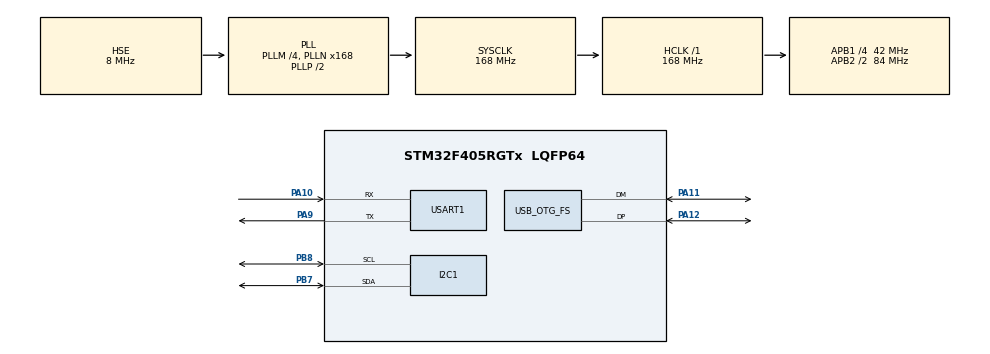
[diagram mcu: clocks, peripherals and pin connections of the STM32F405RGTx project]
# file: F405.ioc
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Dma.I2C1_RX.0.Direction=DMA_PERIPH_TO_MEMORY
Dma.I2C1_RX.0.FIFOMode=DMA_FIFOMODE_DISABLE
Dma.I2C1_RX.0.Instance=DMA1_Stream0
Dma.I2C1_RX.0.MemDataAlignment=DMA_MDATAALIGN_BYTE
Dma.I2C1_RX.0.MemInc=DMA_MINC_ENABLE
Dma.I2C1_RX.0.Mode=DMA_NORMAL
Dma.I2C1_RX.0.PeriphDataAlignment=DMA_PDATAALIGN_BYTE
Dma.I2C1_RX.0.PeriphInc=DMA_PINC_DISABLE
Dma.I2C1_RX.0.Priority=DMA_PRIORITY_MEDIUM
Dma.Request0=I2C1_RX
FREERTOS.Mutexes01=mutexMpu6050,Dynamic,NULL,Available;mutexIcm20948,Dynamic,NULL,Available
FREERTOS.Tasks01=buttonTask,32,128,StartButtonTask,Default,NULL,Dynamic,NULL,NULL;lcdTask,32,256,StartLcdTask,Default,NULL,Dynamic,NULL,NULL;mpu6050Task,24,128,StartTaskMpu6050,Default,NULL,Dynamic,NULL,NULL;icm20948Task,24,128,StartTaskIcm20948,Default,NULL,Dynamic,NULL,NULL;taskKalmanFilte,24,128,StartTaskKalmanFilter,Default,NULL,Dynamic,NULL,NULL;bmp280Task,24,128,StartTaskBmp280,Default,NULL,Dynamic,NULL,NULL
FREERTOS.configENABLE_FPU=1
FREERTOS.configUSE_NEWLIB_REENTRANT=1
I2C1.I2C_Mode=I2C_Fast
Mcu.Family=STM32F4
Mcu.Name=STM32F405RGTx
Mcu.Package=LQFP64
NVIC.DMA1_Stream0_IRQn=true\:5\:0\:false\:false\:true\:true\:false\:true\:true
NVIC.I2C1_ER_IRQn=true\:5\:0\:false\:false\:true\:true\:true\:true\:true
NVIC.I2C1_EV_IRQn=true\:5\:0\:false\:false\:true\:true\:true\:true\:true
NVIC.OTG_FS_IRQn=true\:5\:0\:false\:false\:true\:true\:false\:true\:true
NVIC.PriorityGroup=NVIC_PRIORITYGROUP_4
NVIC.TIM1_UP_TIM10_IRQn=true\:15\:0\:false\:false\:true\:false\:false\:true\:true
NVIC.TimeBase=TIM1_UP_TIM10_IRQn
NVIC.TimeBaseIP=TIM1
PA10.Mode=Asynchronous
PA10.Signal=USART1_RX
PA11.Mode=Device_Only
PA11.Signal=USB_OTG_FS_DM
PA12.Mode=Device_Only
PA12.Signal=USB_OTG_FS_DP
PA13.Mode=Serial_Wire
PA13.Signal=SYS_JTMS-SWDIO
PA14.Mode=Serial_Wire
PA14.Signal=SYS_JTCK-SWCLK
PA9.Mode=Asynchronous
PA9.Signal=USART1_TX
PB7.GPIO_Pu=GPIO_PULLUP
PB7.Mode=I2C
PB7.Signal=I2C1_SDA
PB8.GPIO_Pu=GPIO_PULLUP
PB8.Mode=I2C
PB8.Signal=I2C1_SCL
PC14-OSC32_IN.Mode=LSE-External-Oscillator
PC14-OSC32_IN.Signal=RCC_OSC32_IN
PC15-OSC32_OUT.Mode=LSE-External-Oscillator
PC15-OSC32_OUT.Signal=RCC_OSC32_OUT
PH0-OSC_IN.Mode=HSE-External-Oscillator
PH0-OSC_IN.Signal=RCC_OSC_IN
PH1-OSC_OUT.Mode=HSE-External-Oscillator
PH1-OSC_OUT.Signal=RCC_OSC_OUT
ProjectManager.HeapSize=0x200
ProjectManager.StackSize=0x400
ProjectManager.TargetToolchain=STM32CubeIDE
RCC.48MHZClocksFreq_Value=48000000
RCC.AHBFreq_Value=168000000
RCC.APB1CLKDivider=RCC_HCLK_DIV4
RCC.APB1Freq_Value=42000000
RCC.APB1TimFreq_Value=84000000
RCC.APB2CLKDivider=RCC_HCLK_DIV2
RCC.APB2Freq_Value=84000000
RCC.APB2TimFreq_Value=168000000
RCC.CortexFreq_Value=168000000
RCC.HCLKFreq_Value=168000000
RCC.HSE_VALUE=8000000
RCC.HSI_VALUE=16000000
RCC.PLLM=4
RCC.PLLN=168
RCC.PLLQ=7
RCC.RCC_RTC_Clock_Source=RCC_RTCCLKSOURCE_LSE
RCC.RCC_RTC_Clock_SourceVirtual=RCC_RTCCLKSOURCE_LSE
RCC.SYSCLKFreq_VALUE=168000000
RCC.SYSCLKSource=RCC_SYSCLKSOURCE_PLLCLK
RCC.VCOOutputFreq_Value=336000000
RTC.Date=7
RTC.Month=RTC_MONTH_AUGUST
RTC.Year=23
USART1.VirtualMode=VM_ASYNC
USB_DEVICE.CLASS_NAME_FS=CDC
USB_DEVICE.VirtualMode-CDC_FS=Cdc
USB_DEVICE.VirtualModeFS=Cdc_FS
USB_OTG_FS.VirtualMode=Device_Only
VP_FREERTOS_VS_CMSIS_V2.Mode=CMSIS_V2
VP_RTC_VS_RTC_Activate.Mode=RTC_Enabled
VP_RTC_VS_RTC_Calendar.Mode=RTC_Calendar
VP_SYS_VS_tim1.Mode=TIM1
VP_USB_DEVICE_VS_USB_DEVICE_CDC_FS.Mode=CDC_FS
board=custom

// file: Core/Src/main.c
/* USER CODE BEGIN Header */
/**
  ******************************************************************************
  * @file           : main.c
  * @brief          : Main program body
  ******************************************************************************
  * @attention
  *
  * Copyright (c) 2024 STMicroelectronics.
  * All rights reserved.
  *
  * This software is licensed under terms that can be found in the LICENSE file
  * in the root directory of this software component.
  * If no LICENSE file comes with this software, it is provided AS-IS.
  *
  ******************************************************************************
  */
/* USER CODE END Header */
#include "main.h"
#include "cmsis_os.h"
#include "dma.h"
#include "i2c.h"
#include "rtc.h"
#include "usart.h"
#include "usb_device.h"
#include "gpio.h"

/* USER CODE BEGIN Includes */
#include "board.h"
#include <stdio.h>
//#include "MPU6050/mpu6050.h"
#include "IMU10DOF/Waveshare_10Dof-D.h"
#include "OLED/ssd1306.h"
/* USER CODE END Includes */

/* USER CODE BEGIN PV */
MPU6050_t MPU6050;
ICM20948_t ICM20948;
BMP280_t BMP280;
volatile I2C_DMA_State current_i2c_dma_state = I2C_DMA_STATE_NONE;
SemaphoreHandle_t dmaCompleteSemaphore;
/* USER CODE END PV */

void SystemClock_Config(void);
void MX_FREERTOS_Init(void);
/* USER CODE BEGIN PFP */
void I2C_Scan(void);
/* USER CODE END PFP */

/* USER CODE BEGIN 0 */
/* Redirect printf to UART */
#ifdef __GNUC__
  // For GCC, implement __io_putchar for printf redirection
  int __io_putchar(int ch)
#else
  // For other compilers, implement fputc for printf redirection
  int fputc(int ch, FILE *f)
#endif /* __GNUC__ */
{
    // Transmit the character over UART1
    HAL_UART_Transmit(&huart1, (uint8_t *)&ch, 1, HAL_MAX_DELAY);
    return ch;
}
/* USER CODE END 0 */

int main(void)
{

  /* MCU Configuration--------------------------------------------------------*/

  /* Reset of all peripherals, Initializes the Flash interface and the Systick. */
  HAL_Init();

  /* Configure the system clock */
  SystemClock_Config();

  /* Initialize all configured peripherals */
  MX_GPIO_Init();
  MX_DMA_Init();
  MX_RTC_Init();
  MX_USART1_UART_Init();
  MX_I2C1_Init();
  /* USER CODE BEGIN 2 */

  I2C_Scan();
  while (MPU6050_Init(&hi2c1, &MPU6050) == 1);

  if(ICM20948_Init(&ICM20948) != HAL_OK)
  {
	  printf("init icm20948 fails\r\n");
  }

  if(BMP280_Init(&BMP280) != HAL_OK)
  {
	  printf("init bmp280 fails\r\n");
  }

  ssd1306_Init();
  ssd1306_WriteString("Hello World", Font_7x10);
  ssd1306_UpdateScreen();

  board_button_init();
  board_led_init();

  /* USER CODE END 2 */

  /* Init scheduler */
  osKernelInitialize();

  /* Call init function for freertos objects (in cmsis_os2.c) */
  MX_FREERTOS_Init();

  /* Start scheduler */
  osKernelStart();

  /* We should never get here as control is now taken by the scheduler */

  /* Infinite loop */
  while (1)
  {

  }
}

void SystemClock_Config(void)
{
  RCC_OscInitTypeDef RCC_OscInitStruct = {0};
  RCC_ClkInitTypeDef RCC_ClkInitStruct = {0};

  /** Configure the main internal regulator output voltage
  */
  __HAL_RCC_PWR_CLK_ENABLE();
  __HAL_PWR_VOLTAGESCALING_CONFIG(PWR_REGULATOR_VOLTAGE_SCALE1);

  /** Initializes the RCC Oscillators according to the specified parameters
  * in the RCC_OscInitTypeDef structure.
  */
  RCC_OscInitStruct.OscillatorType = RCC_OSCILLATORTYPE_HSE|RCC_OSCILLATORTYPE_LSE;
  RCC_OscInitStruct.HSEState = RCC_HSE_ON;
  RCC_OscInitStruct.LSEState = RCC_LSE_ON;
  RCC_OscInitStruct.PLL.PLLState = RCC_PLL_ON;
  RCC_OscInitStruct.PLL.PLLSource = RCC_PLLSOURCE_HSE;
  RCC_OscInitStruct.PLL.PLLM = 4;
  RCC_OscInitStruct.PLL.PLLN = 168;
  RCC_OscInitStruct.PLL.PLLP = RCC_PLLP_DIV2;
  RCC_OscInitStruct.PLL.PLLQ = 7;
  if (HAL_RCC_OscConfig(&RCC_OscInitStruct) != HAL_OK)
  {
    Error_Handler();
  }

  /** Initializes the CPU, AHB and APB buses clocks
  */
  RCC_ClkInitStruct.ClockType = RCC_CLOCKTYPE_HCLK|RCC_CLOCKTYPE_SYSCLK
                              |RCC_CLOCKTYPE_PCLK1|RCC_CLOCKTYPE_PCLK2;
  RCC_ClkInitStruct.SYSCLKSource = RCC_SYSCLKSOURCE_PLLCLK;
  RCC_ClkInitStruct.AHBCLKDivider = RCC_SYSCLK_DIV1;
  RCC_ClkInitStruct.APB1CLKDivider = RCC_HCLK_DIV4;
  RCC_ClkInitStruct.APB2CLKDivider = RCC_HCLK_DIV2;

  if (HAL_RCC_ClockConfig(&RCC_ClkInitStruct, FLASH_LATENCY_5) != HAL_OK)
  {
    Error_Handler();
  }
}

/* USER CODE BEGIN 4 */
void I2C_Scan(void)
{

	RTC_DateTypeDef sdatestructureget;
	RTC_TimeTypeDef stimestructureget;
	HAL_RTC_GetTime(&hrtc, &stimestructureget, RTC_FORMAT_BIN);
	HAL_RTC_GetDate(&hrtc, &sdatestructureget, RTC_FORMAT_BIN);
    printf("Scanning I2C bus on Y20%02d.M%02d.D%02d at %02d:%02d:%02d...\r\n",
    		sdatestructureget.Year,
			sdatestructureget.Month,
			sdatestructureget.Date,
			stimestructureget.Hours,
			stimestructureget.Minutes,
			stimestructureget.Seconds);
    for (uint16_t addr = 0; addr < 128; addr++)
    {
        if (HAL_I2C_IsDeviceReady(&hi2c1, addr << 1, 1, HAL_MAX_DELAY) == HAL_OK)
        {
            printf("Device found at 0x%02X\r\n", addr);
        }
    }
    printf("Scanning I2C DONE!...\r\n");
}

void Display_Accel_Data(void) {
    // Clear the screen
    ssd1306_Clear();
    char buffer[20];  // Buffer to hold the text
    uint8_t len = 75;

	// Display the Ax value
	snprintf(buffer, sizeof(buffer), "x:%8.5f|%8.5f", MPU6050.acce[0], -(ICM20948.acce[1]));
	ssd1306_SetCursor(0, 0);
	ssd1306_WriteString(buffer, Font_7x10);

	// Display the Ay value
	snprintf(buffer, sizeof(buffer), "y:%8.5f|%8.5f", MPU6050.acce[1], ICM20948.acce[0]);
	ssd1306_SetCursor(0, 10);
	ssd1306_WriteString(buffer, Font_7x10);

	// Display the Az value
	snprintf(buffer, sizeof(buffer), "z:%8.5f|%8.5f", MPU6050.acce[2], ICM20948.acce[2]);
	ssd1306_SetCursor(0, 20);
	ssd1306_WriteString(buffer, Font_7x10);

	// Update the screen
	ssd1306_UpdateScreen();

}

void Display_Gyro_Data(void) {
    // Clear the screen
    ssd1306_Clear();
    char buffer[20];  // Buffer to hold the text
    uint8_t len = 75;

	// Display the Ax value
	snprintf(buffer, sizeof(buffer), "x:%8.5f|%8.5f", MPU6050.gyro[0], -ICM20948.gyro[1]);
	ssd1306_SetCursor(0, 0);
	ssd1306_WriteString(buffer, Font_7x10);

	// Display the Ay value
	snprintf(buffer, sizeof(buffer), "y:%8.5f|%8.5f", MPU6050.gyro[1], ICM20948.gyro[0]);
	ssd1306_SetCursor(0, 10);
	ssd1306_WriteString(buffer, Font_7x10);

	// Display the Az value
	snprintf(buffer, sizeof(buffer), "z:%8.5f|%8.5f", MPU6050.gyro[2], ICM20948.gyro[2]);
	ssd1306_SetCursor(0, 20);
	ssd1306_WriteString(buffer, Font_7x10);

	// Update the screen
	ssd1306_UpdateScreen();

}
void HAL_I2C_MemRxCpltCallback(I2C_HandleTypeDef *hi2c) {
    if (hi2c->Instance == I2C1) {
    	BaseType_t xHigherPriorityTaskWoken = pdFALSE;
    	xSemaphoreGiveFromISR(dmaCompleteSemaphore, &xHigherPriorityTaskWoken);
    	portYIELD_FROM_ISR(xHigherPriorityTaskWoken);

    }
}
void HAL_I2C_ErrorCallback(I2C_HandleTypeDef *hi2c) {
    if (hi2c->Instance == I2C1) {
    	switch (current_i2c_dma_state)
		{
			case I2C_DMA_STATE_MPU6050:
				printf("mpu6050 i2c error");
				break;
			case I2C_DMA_STATE_ICM20948_ACCEL_GYRO:
				printf("icm20948 gyro i2c error");
				break;
			case I2C_DMA_STATE_ICM20948_MAG:
				printf("icm20948 mag i2c error");
				break;
			case I2C_DMA_STATE_BMP280:
				printf("icm20948 bmp280 i2c error");
				break;
			case I2C_DMA_STATE_NONE:
			default:
				printf("Unexpected I2C DMA state!\r\n");
				break;
		}
    }
}
/* USER CODE END 4 */

void HAL_TIM_PeriodElapsedCallback(TIM_HandleTypeDef *htim)
{
  if (htim->Instance == TIM1) {
    HAL_IncTick();
  }
}

void Error_Handler(void)
{
  __disable_irq();
  while (1)
  {
  }
}

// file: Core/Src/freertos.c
/* USER CODE BEGIN Header */
/**
  ******************************************************************************
  * File Name          : freertos.c
  * Description        : Code for freertos applications
  ******************************************************************************
  * @attention
  *
  * Copyright (c) 2024 STMicroelectronics.
  * All rights reserved.
  *
  * This software is licensed under terms that can be found in the LICENSE file
  * in the root directory of this software component.
  * If no LICENSE file comes with this software, it is provided AS-IS.
  *
  ******************************************************************************
  */
/* USER CODE END Header */

#include "FreeRTOS.h"
#include "task.h"
#include "main.h"
#include "cmsis_os.h"

/* USER CODE BEGIN Includes */
#include "i2c.h"
#include "usbd_cdc_if.h"
#include "algo/angle_estimation.h"

/* USER CODE END Includes */

/* USER CODE BEGIN Variables */
static cnt = 0;
/* USER CODE END Variables */
/* Definitions for buttonTask */
osThreadId_t buttonTaskHandle;
const osThreadAttr_t buttonTask_attributes = {
  .name = "buttonTask",
  .stack_size = 128 * 4,
  .priority = (osPriority_t) osPriorityAboveNormal,
};
/* Definitions for lcdTask */
osThreadId_t lcdTaskHandle;
const osThreadAttr_t lcdTask_attributes = {
  .name = "lcdTask",
  .stack_size = 512 * 4,
  .priority = (osPriority_t) osPriorityAboveNormal,
};
/* Definitions for mpu6050Task */
osThreadId_t mpu6050TaskHandle;
const osThreadAttr_t mpu6050Task_attributes = {
  .name = "mpu6050Task",
  .stack_size = 128 * 4,
  .priority = (osPriority_t) osPriorityNormal,
};
/* Definitions for icm20948Task */
osThreadId_t icm20948TaskHandle;
const osThreadAttr_t icm20948Task_attributes = {
  .name = "icm20948Task",
  .stack_size = 128 * 4,
  .priority = (osPriority_t) osPriorityNormal,
};
/* Definitions for taskKalmanFilte */
osThreadId_t taskKalmanFilteHandle;
const osThreadAttr_t taskKalmanFilte_attributes = {
  .name = "taskKalmanFilte",
  .stack_size = 128 * 4,
  .priority = (osPriority_t) osPriorityNormal,
};
/* Definitions for bmp280Task */
osThreadId_t bmp280TaskHandle;
const osThreadAttr_t bmp280Task_attributes = {
  .name = "bmp280Task",
  .stack_size = 256 * 4,
  .priority = (osPriority_t) osPriorityNormal,
};
/* Definitions for mutexMpu6050 */
osMutexId_t mutexMpu6050Handle;
const osMutexAttr_t mutexMpu6050_attributes = {
  .name = "mutexMpu6050"
};
/* Definitions for mutexIcm20948 */
osMutexId_t mutexIcm20948Handle;
const osMutexAttr_t mutexIcm20948_attributes = {
  .name = "mutexIcm20948"
};

void StartButtonTask(void *argument);
void StartLcdTask(void *argument);
void StartTaskMpu6050(void *argument);
void StartTaskIcm20948(void *argument);
void StartTaskKalmanFilter(void *argument);
void StartTaskBmp280(void *argument);

void MX_FREERTOS_Init(void); /* (MISRA C 2004 rule 8.1) */

void MX_FREERTOS_Init(void) {
  /* USER CODE BEGIN Init */
	MX_USB_DEVICE_Init();

  /* USER CODE END Init */
  /* Create the mutex(es) */
  /* creation of mutexMpu6050 */
  mutexMpu6050Handle = osMutexNew(&mutexMpu6050_attributes);

  /* creation of mutexIcm20948 */
  mutexIcm20948Handle = osMutexNew(&mutexIcm20948_attributes);

  /* USER CODE BEGIN RTOS_SEMAPHORES */
  /* add semaphores, ... */
  dmaCompleteSemaphore = xSemaphoreCreateBinary();
  if (dmaCompleteSemaphore == NULL) {
	  // Handle semaphore creation failure
	  printf("Failed to create dmaCompleteSemaphore.\r\n");
	  while (1);
  }
  /* USER CODE END RTOS_SEMAPHORES */

  /* Create the thread(s) */
  /* creation of buttonTask */
  buttonTaskHandle = osThreadNew(StartButtonTask, NULL, &buttonTask_attributes);

  /* creation of lcdTask */
  lcdTaskHandle = osThreadNew(StartLcdTask, NULL, &lcdTask_attributes);

  /* creation of mpu6050Task */
  mpu6050TaskHandle = osThreadNew(StartTaskMpu6050, NULL, &mpu6050Task_attributes);

  /* creation of icm20948Task */
  icm20948TaskHandle = osThreadNew(StartTaskIcm20948, NULL, &icm20948Task_attributes);

  /* creation of taskKalmanFilte */
  taskKalmanFilteHandle = osThreadNew(StartTaskKalmanFilter, NULL, &taskKalmanFilte_attributes);

  /* creation of bmp280Task */
  bmp280TaskHandle = osThreadNew(StartTaskBmp280, NULL, &bmp280Task_attributes);

  /* USER CODE BEGIN RTOS_EVENTS */
  printf("Waiting for USB...\r\n");
  osDelay(5000);
  /* USER CODE END RTOS_EVENTS */

}

void StartButtonTask(void *argument)
{
  /* USER CODE BEGIN StartButtonTask */
	TickType_t xLastWakeTime = xTaskGetTickCount();
	const TickType_t xInterval = 10;
  /* Infinite loop */
	uint32_t now;
	for(;;)
	{
		TickType_t start = xTaskGetTickCount();
	  if(board_button_pressed())
	  {
		  board_led_set(GPIO_PIN_SET);
	  }
	  else
	  {
		  if(now >= 100)
		  {
			  now = 0;
			  board_led_toggle();
		  }
		  else
		  {
			  now++;
		  }
	  }
	  /*
	  TickType_t end = xTaskGetTickCount();
	  TickType_t dt = (end - start) * portTICK_PERIOD_MS;
	  if(dt > xInterval)
		  printf("Button Time: %d > %d ms\r\n", dt, xInterval);
	  */
	  vTaskDelayUntil(&xLastWakeTime, pdMS_TO_TICKS(xInterval));
	}
  /* USER CODE END StartButtonTask */
}

void StartLcdTask(void *argument)
{
  /* USER CODE BEGIN StartLcdTask */
	static uint8_t display = 1;
	static uint8_t is_pressed = 0;
	TickType_t xLastWakeTime = xTaskGetTickCount();
	const TickType_t xInterval = 50;
  /* Infinite loop */
	for(;;)
	{
		TickType_t start = xTaskGetTickCount();
	  if(board_button_pressed() && !is_pressed)
	  {
		  is_pressed = 1;
	  }
	  else if(!board_button_pressed() && is_pressed)
	  {
		  display = display? 0:1;
		  is_pressed = 0;
		  printf("change display\r\n");
	  }
	  switch (display)
	  {
	  	  case 1:
	  		  Display_Gyro_Data();
	  		  break;
	  	  default:
	  		  Display_Accel_Data();
	  		  break;
	  }
	  char tx_buff[128];
	  sprintf(tx_buff, "%d, %.5f, %.5f, %.5f, %.5f, %.5f, %.5f, %.5f\r\n",
			  ++cnt, MPU6050.kalmanRoll[0], MPU6050.kalmanRoll[2], MPU6050.angle[0],
			  MPU6050.kalmanPitch[0], MPU6050.kalmanPitch[2], -MPU6050.angle[1],
			  (BMP280.altitude - BMP280.altitude_offset)*100);
	  CDC_Transmit_FS(tx_buff, strlen(tx_buff));
	  //printf("%.3f\r\n", cnt*0.05);
	  /*
	  printf("%d, %.5f, %.5f, %.5f, ", ++cnt, MPU6050.acce[0], MPU6050.acce[1], MPU6050.acce[2]);
	  printf("%.5f, %.5f, %.5f, ", MPU6050.gyro[0], MPU6050.gyro[1], MPU6050.gyro[2]);
	  printf("%.5f, %.5f, %.5f ", ICM20948.acce[0], ICM20948.acce[1], ICM20948.acce[2]);
	  printf("%.5f, %.5f, %.5f\r\n", ICM20948.gyro[0], ICM20948.gyro[1], ICM20948.gyro[2]);
	  */
	  //printf(" Mx: %.5f My: %.5f Mz: %.5f\r\n", ICM20948.mage[0], ICM20948.mage[1], ICM20948.mage[2]);
	  //printf("Temp: %.5f | %.5f\r\n", MPU6050.Temperature, BMP280.temp);
	  // printf("%d, %.5f, %.5f, %.5f, ", ++cnt, MPU6050.angle[0], MPU6050.angle[1], MPU6050.angle[2]);
	  // printf("%.5f, %.5f, %.5f\r\n", ICM20948.angle[1], -ICM20948.angle[0], ICM20948.angle[2]);
	  //printf("%d, %.5f, %.5f, %.5f, ", ++cnt, MPU6050.kalmanRoll[0], MPU6050.kalmanRoll[2], MPU6050.angle[0]);

	  //printf("%.5f, %.5f, %.5f\r\n", MPU6050.kalmanPitch[0], MPU6050.kalmanPitch[2], MPU6050.angle[1]);
	  TickType_t endTime = xTaskGetTickCount();  // Measure end time
	  //printf("Task Execution Time: %d ms\r\n", (endTime - startTime) * portTICK_PERIOD_MS);

	  TickType_t end = xTaskGetTickCount();
	  TickType_t dt = (end - start) * portTICK_PERIOD_MS;
	  if(dt > xInterval)
		  printf("LCD Time: %d > %d ms\r\n", dt, xInterval);
	  vTaskDelayUntil(&xLastWakeTime, pdMS_TO_TICKS(xInterval));
	}
  /* USER CODE END StartLcdTask */
}

void StartTaskMpu6050(void *argument)
{
  /* USER CODE BEGIN StartTaskMpu6050 */
	TickType_t xLastWakeTime = xTaskGetTickCount();
	const TickType_t xInterval = 20;
  /* Infinite loop */
	  for(;;)
	  {
			TickType_t start = xTaskGetTickCount();
		  current_i2c_dma_state = I2C_DMA_STATE_MPU6050;
		  MPU6050_Read_DMA(&hi2c1, &MPU6050);
		  if (xSemaphoreTake(dmaCompleteSemaphore, portMAX_DELAY) == pdTRUE) {
			  // Process MPU6050 data
			  MPU6050_Process_Data(&MPU6050);
			  //printf("MPU6050 Ax: %d Ay: %d Az: %d\r\n", MPU6050.Ax, MPU6050.Ay, MPU6050.Az);
		  }
		  /*
		  TickType_t end = xTaskGetTickCount();
		  TickType_t dt = (end - start) * portTICK_PERIOD_MS;
		  if(dt > xInterval)
			  printf("Mpu6050 Task Time: %d > %d ms\r\n", dt, xInterval);*/
		  vTaskDelayUntil(&xLastWakeTime, pdMS_TO_TICKS(xInterval));
	  }
  /* USER CODE END StartTaskMpu6050 */
}

void StartTaskIcm20948(void *argument)
{
  /* USER CODE BEGIN StartTaskIcm20948 */
	TickType_t xLastWakeTime = xTaskGetTickCount();
	const TickType_t xInterval = 20;
  /* Infinite loop */
	  for(;;)
	  {
			TickType_t start = xTaskGetTickCount();
		  // first read acc & gyro
		  current_i2c_dma_state = I2C_DMA_STATE_ICM20948_ACCEL_GYRO;
		  ICM20948_ReadDMA(&ICM20948);
		  if (xSemaphoreTake(dmaCompleteSemaphore, portMAX_DELAY) == pdTRUE) {
			  ICM20948_Process_Gyro_data(&ICM20948);
		      //printf("ICM20948 Ax: %d Ay: %d Az: %d\r\n", ax, ay, az);
		  }
		  // then read mag
		  current_i2c_dma_state = I2C_DMA_STATE_ICM20948_MAG;
		  Magnetometer_ReadDMA(&ICM20948);
		  if (xSemaphoreTake(dmaCompleteSemaphore, portMAX_DELAY) == pdTRUE) {
			  ICM20948_Process_Mage_data(&ICM20948);
		      //printf("ICM20948 Mx: %d My: %d Mz: %d\r\n", ICM20948.mage[0], ICM20948.mage[1], ICM20948.mage[2]);
		  }
		  /*
		  TickType_t end = xTaskGetTickCount();
		  TickType_t dt = (end - start) * portTICK_PERIOD_MS;
		  if(dt > xInterval)
			  printf("Icm20948 Time: %d > %d ms\r\n", dt, xInterval);
		  */
		  vTaskDelayUntil(&xLastWakeTime, pdMS_TO_TICKS(xInterval));
	  }
  /* USER CODE END StartTaskIcm20948 */
}

void StartTaskKalmanFilter(void *argument)
{
  /* USER CODE BEGIN StartTaskKalmanFilter */
	TickType_t xLastWakeTime = xTaskGetTickCount();
	const TickType_t xInterval = 10;
  /* Infinite loop */
	  for(;;)
	  {
		  TickType_t start = xTaskGetTickCount();
		  angle_estimation(MPU6050.acce, MPU6050.angle);
		  angle_estimation(ICM20948.acce, ICM20948.angle);
		  angle_estimation_kalman(MPU6050.gyro[0], MPU6050.angle[0], MPU6050.kalmanRoll);
		  angle_estimation_kalman(MPU6050.gyro[1], -MPU6050.angle[1], MPU6050.kalmanPitch);
		  /*
		  TickType_t end = xTaskGetTickCount();
		  TickType_t dt = (end - start) * portTICK_PERIOD_MS;
		  if(dt > xInterval)
			  printf("Kalman Task Time: %d > %d ms\r\n", dt, xInterval);
		  */
		  vTaskDelayUntil(&xLastWakeTime, pdMS_TO_TICKS(xInterval));
	  }
  /* USER CODE END StartTaskKalmanFilter */
}

void StartTaskBmp280(void *argument)
{
  /* USER CODE BEGIN StartTaskBmp280 */
	TickType_t xLastWakeTime = xTaskGetTickCount();
	const TickType_t xInterval = 50;
  /* Infinite loop */
	for(;;)
	{
		TickType_t start = xTaskGetTickCount();
		current_i2c_dma_state = I2C_DMA_STATE_BMP280;

		//BMP280_ReadTempAndPressure(&BMP280);

		BMP280_Read_DMA(&BMP280);
		if (xSemaphoreTake(dmaCompleteSemaphore, portMAX_DELAY) == pdTRUE) {
			BMP280_Process_data(&BMP280);
		}

		// osDelay(10);
		/*
		TickType_t end = xTaskGetTickCount();
		TickType_t dt = (end - start) * portTICK_PERIOD_MS;
		if(dt > xInterval)
		    printf("Bmp280 Task Time: %d > %d ms\r\n", dt, xInterval);
		*/
		vTaskDelayUntil(&xLastWakeTime, pdMS_TO_TICKS(xInterval));
	}
  /* USER CODE END StartTaskBmp280 */
}
